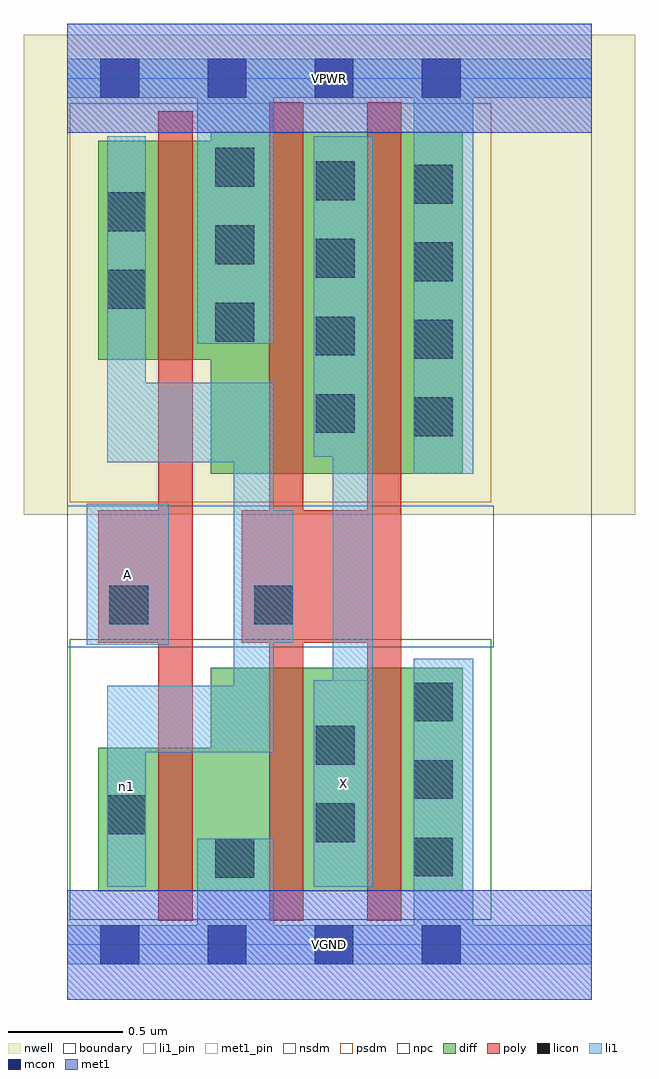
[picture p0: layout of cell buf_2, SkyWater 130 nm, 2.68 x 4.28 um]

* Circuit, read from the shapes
.subckt buf_2 A VGND VPWR X n1
XM1 VGND A n1 VSUBS sky130_fd_pr__nfet_01v8 w=0.63 l=0.15
XM2 X n1 VGND VSUBS sky130_fd_pr__nfet_01v8 w=0.98 l=0.15 m=2
XM3 VPWR A n1 n2 sky130_fd_pr__pfet_01v8 w=0.96 l=0.15
XM4 X n1 VPWR n2 sky130_fd_pr__pfet_01v8 w=1.5 l=0.15 m=2
.ends

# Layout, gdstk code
import gdstk
lib = gdstk.Library(unit=1e-6, precision=1e-09)
def R(c, l, rs):  # rectangles x0, y0, x1, y1
    for r in rs: c.add(gdstk.rectangle(r[:2], r[2:], *l))
def A(c, l, x, y, w, h, nx, ny, dx, dy):  # array of equal rectangles
    R(c, l, [(x+i*dx, y+j*dy, x+i*dx+w, y+j*dy+h) for i in range(nx) for j in range(ny)])
nwell = (64, 20)
diff = (65, 20)
poly = (66, 20)
licon = (66, 44)
li1_pin = (67, 16)
li1 = (67, 20)
mcon = (67, 44)
met1_pin = (68, 16)
met1 = (68, 20)
nsdm = (93, 44)
psdm = (94, 20)
npc = (95, 20)
boundary = (235, 4)

buf_2 = lib.new_cell('buf_2')
R(buf_2, nwell, [(-0.19,1.885,2.49,3.99), (0,1.885,2.3,3.99)])
R(buf_2, diff, [(0.135,0.235,1.735,0.865), (0.63,0.235,1.735,1.215), (0.63,2.065,1.735,3.565), (0.135,2.565,1.735,3.525)])
R(buf_2, poly, [(0.4,0.105,0.55,3.655), (0.885,0.105,1.035,3.695), (1.315,0.105,1.465,3.695), (0.135,1.325,0.55,1.905), (0.765,1.325,1.465,1.905)])
A(buf_2, licon, 1.52, 0.3, 0.17, 0.17, 1, 3, 0, 0.34)
A(buf_2, licon, 1.52, 2.23, 0.17, 0.17, 1, 4, 0, 0.34)
A(buf_2, licon, 1.09, 2.245, 0.17, 0.17, 1, 4, 0, 0.34)
A(buf_2, licon, 0.65, 2.645, 0.17, 0.17, 1, 3, 0, 0.34)
R(buf_2, licon, [(0.65,0.295,0.82,0.465), (1.09,0.45,1.26,0.62), (0.175,0.485,0.345,0.655), (1.09,0.79,1.26,0.96), (0.185,1.405,0.355,1.575), (0.82,1.405,0.99,1.575), (0.175,2.79,0.345,2.96), (0.175,3.13,0.345,3.3)])
R(buf_2, li1_pin, [(1.08,0.255,1.34,1.16), (0.085,1.315,0.445,1.935)])
R(buf_2, li1, [(0,-0.085,2.3,0.085), (0.57,-0.085,0.905,0.465), (1.52,-0.085,1.78,1.255), (0.175,0.255,0.345,1.135), (1.08,0.255,1.34,1.16), (1.165,0.255,1.34,3.545), (0.175,0.845,0.905,1.135), (0.73,0.845,0.905,2.465), (0.085,1.315,0.445,1.935), (0.73,1.325,0.99,1.905), (1.52,2.065,1.78,3.885), (0.175,2.115,0.345,3.545), (0.175,2.115,0.905,2.465), (1.08,2.14,1.34,3.545), (0.57,2.635,0.905,3.885), (0,3.715,2.3,3.885)])
A(buf_2, mcon, 0.145, -0.085, 0.17, 0.17, 4, 2, 0.47, 3.8)
R(buf_2, met1_pin, [(0,-0.24,2.3,0.24), (0,3.56,2.3,4.04)])
R(buf_2, met1, [(0,-0.24,2.3,0.24), (0,3.56,2.3,4.04)])
R(buf_2, nsdm, [(0.01,0.11,1.86,1.34)])
R(buf_2, psdm, [(0.01,1.94,1.86,3.69)])
R(buf_2, npc, [(0,1.305,1.87,1.925)])
R(buf_2, boundary, [(0,0,2.3,3.8)])
buf_2.add(gdstk.Label('A', (0.265,1.625), layer=67, texttype=5))
buf_2.add(gdstk.Label('X', (1.21,0.707), layer=67, texttype=5))
buf_2.add(gdstk.Label('n1', (0.26,0.695), layer=67, texttype=5))
buf_2.add(gdstk.Label('VPWR', (1.15,3.8), layer=68, texttype=5))
buf_2.add(gdstk.Label('VGND', (1.15,0), layer=68, texttype=5))
buf_2.add(gdstk.Label('A', (0.265,1.625), layer=67, texttype=16))
buf_2.add(gdstk.Label('X', (1.21,0.707), layer=67, texttype=16))
buf_2.add(gdstk.Label('VPWR', (1.15,3.8), layer=68, texttype=16))
buf_2.add(gdstk.Label('VGND', (1.15,0), layer=68, texttype=16))

lib.write_gds('buf_2.gds')
